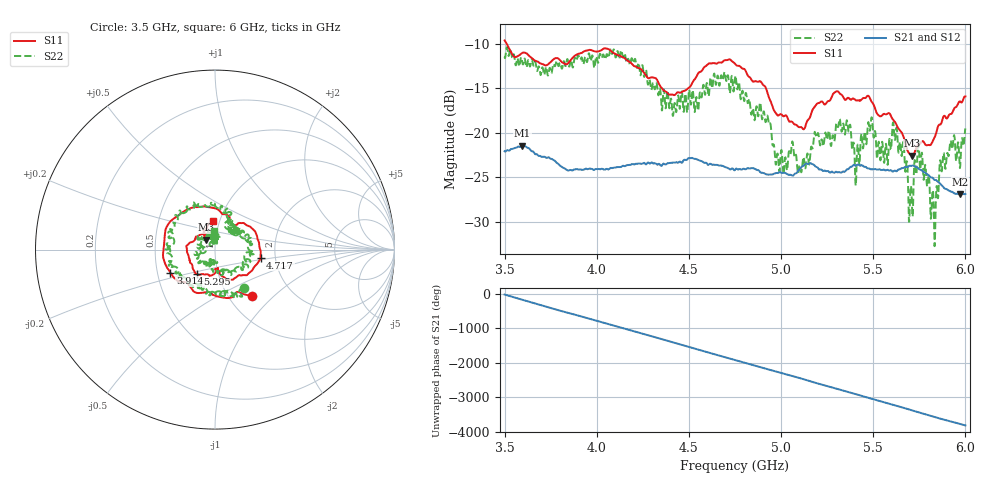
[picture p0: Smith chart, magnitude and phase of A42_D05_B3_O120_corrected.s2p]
! Created with skrf 1.9.0 (http://scikit-rf.org).
# Hz S RI R 50.0
!freq ReS11 ImS11 ReS21 ImS21 ReS12 ImS12 ReS22 ImS22
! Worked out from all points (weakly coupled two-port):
!   1601 points, 3.5 GHz to 6 GHz, reference 50 ohm
!   highest |S21| = -21.46 dB at 3.597 GHz (marker M1); lowest = -26.9 dB at 5.97 GHz (marker M2)
!   lowest |S11| = -22.6 dB at 5.713 GHz (marker M3), VSWR 1.16, Z = 45.1 + j5.08 ohm
!   |S11| at or under -10 dB: 3.511 GHz to end of sweep
!   |S22| runs from -32.8 to -10.4 dB; largest |S21 - S12| = 0.0011
!   S11 on the Smith chart (normalised r, x): 3.5 GHz: 1.28, -0.74; 3.914 GHz: 0.59, -0.16; 4.717 GHz: 1.67, -0.16; 5.295 GHz: 0.79, -0.23; 6 GHz: 0.93, +0.30
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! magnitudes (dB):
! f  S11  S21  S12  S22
! 3.5 GHz  -9.6  -22.1  -22.0  -11.5
! 3.597 GHz  -11.0  -21.5  -21.4  -12.2
! 3.914 GHz  -11.1  -24.1  -24.1  -11.6
! 3.917 GHz  -11.0  -24.2  -24.1  -11.5
! 4.334 GHz  -14.4  -23.5  -23.5  -15.8
! 4.717 GHz  -11.8  -24.0  -24.1  -14.6
! 4.75 GHz  -12.3  -24.2  -24.1  -13.8
! 4.933 GHz  -16.0  -24.7  -24.6  -18.9
! 4.981 GHz  -18.1  -24.5  -24.5  -22.3
! 5.167 GHz  -17.6  -23.5  -23.4  -21.7
! 5.295 GHz  -15.4  -24.4  -24.3  -19.7
! 5.366 GHz  -16.1  -24.1  -24.0  -19.9
! 5.412 GHz  -16.4  -23.6  -23.6  -22.0
! 5.483 GHz  -16.2  -24.1  -24.0  -19.8
! 5.584 GHz  -17.8  -24.2  -24.2  -21.4
! 5.617 GHz  -18.8  -24.3  -24.2  -20.8
! 5.713 GHz  -22.6  -23.7  -23.6  -29.4
! 5.753 GHz  -21.3  -24.1  -24.1  -23.8
! 5.825 GHz  -20.8  -25.1  -25.1  -26.7
! 5.872 GHz  -18.8  -25.9  -25.8  -24.3
! 5.97 GHz  -16.5  -26.9  -26.9  -24.0
! 6 GHz  -15.9  -26.9  -26.8  -19.5
